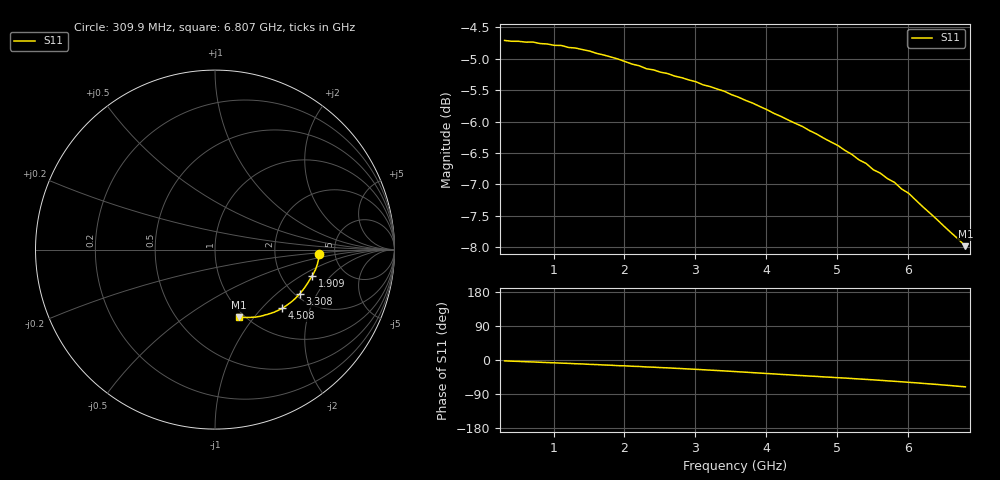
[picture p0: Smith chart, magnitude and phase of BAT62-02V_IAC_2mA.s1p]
! Infineon Technologies  Discrete & RF Semiconductors
! BAT62-02V
! IAC = 2 mA
! One-Port S-Parameters
# Hz  S  MA  R  50
!f  S11
!Hz  Mag  Ang
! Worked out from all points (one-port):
!   66 points, 309.9 MHz to 6.807 GHz, reference 50 ohm
!   lowest |S11| = -8.0 dB at 6.807 GHz (marker M1), VSWR 2.33, Z = 46.9 - j42 ohm
!   |S11| at or under -10 dB: nowhere
!   S11 on the Smith chart (normalised r, x): 309.9 MHz: 3.76, -0.27; 1.909 GHz: 2.98, -1.26; 3.308 GHz: 2.10, -1.45; 4.508 GHz: 1.51, -1.31; 6.807 GHz: 0.94, -0.84
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3.0985e8  0.5816 -2.3
6.097e8  0.5798 -4.6
7.0965e8  0.5799 -5.1
1.2094e9  0.5742 -8.9
1.30935e9  0.5735 -9.8
1.4093e9  0.5719 -10.5
1.50925e9  0.5704 -11.5
1.6092e9  0.5679 -12.1
1.70915e9  0.5662 -13.1
1.8091e9  0.5642 -13.8
1.90905e9  0.5621 -14.9
2.009e9  0.5595 -15.4
2.10895e9  0.5569 -16.5
2.2089e9  0.5552 -17.1
2.30885e9  0.5522 -18.4
2.4088e9  0.551 -19.0
2.8086e9  0.5432 -22.7
3.30835e9  0.532 -27.7
3.6082e9  0.5241 -31.1
4.008e9  0.5122 -35.6
4.4078e9  0.4996 -40.3
4.50775e9  0.4968 -41.2
5.0075e9  0.4797 -46.8
5.2074e9  0.4718 -48.9
5.8071e9  0.4483 -56.2
6.007e9  0.4394 -58.9
6.50675e9  0.4136 -66.1
6.8066e9  0.3988 -70.8
